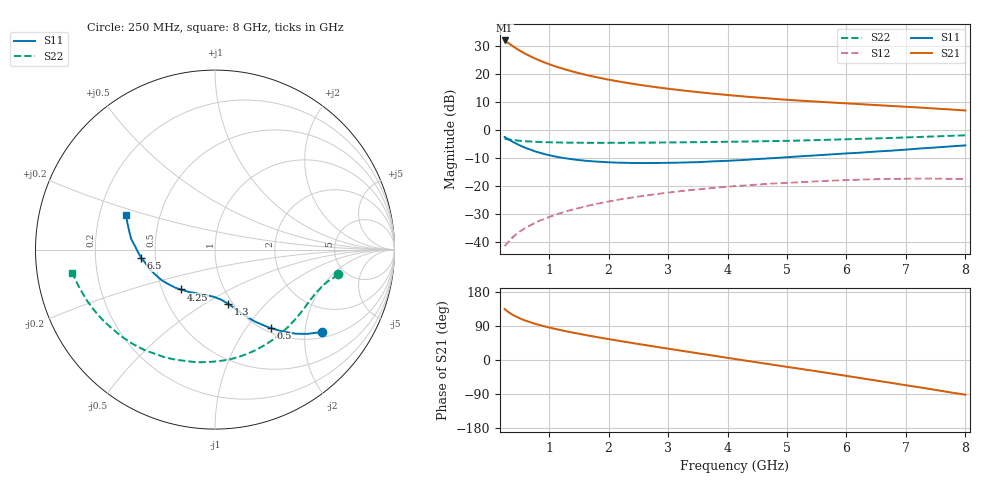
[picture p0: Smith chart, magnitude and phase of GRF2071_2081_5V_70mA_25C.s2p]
! Data measured by Modelithics, Inc.
! support@modelithics.com 813-866-6335 Tampa FL USA
# GHZ S MA R 50
! Scattering Parameters
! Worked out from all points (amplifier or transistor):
!   55 points, 250 MHz to 8 GHz, reference 50 ohm
!   highest |S21| = 31.8 dB at 250 MHz (marker M1)
!   |S21| within 3 dB of that: start of sweep to 457.5 MHz
!   unconditionally stable (mu >= 1): 1.566 GHz to 5.166 GHz
!   at 700 MHz: K = 0.90, MSG = 29.9 dB, |S12| = -33.7 dB
!   at 2.2 GHz: K = 1.01, MAG = 20.2 dB, |S12| = -24.6 dB
!   at 8 GHz: K = 0.92, MSG = 12.2 dB, |S12| = -17.4 dB
!   lowest NFmin = 0.07 dB at 250 MHz
!   S11 on the Smith chart (normalised r, x): 250 MHz: 1.16, -2.46; 500 MHz: 1.07, -1.31; 1.3 GHz: 0.95, -0.64; 4.25 GHz: 0.62, -0.30; 6.5 GHz: 0.42, -0.05; 8 GHz: 0.31, +0.17
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0.25  0.7522 -37.6  39.11 134.4  0.0086 73.0  0.6971 -11.2
0.3  0.6988 -42.2  35.87 128.2  0.00983 74.0  0.6841 -12.8
0.35  0.6503 -46.1  32.99 122.8  0.0114 72.1  0.6712 -14.2
0.4  0.6058 -49.3  30.33 118.0  0.01279 72.0  0.6592 -15.2
0.45  0.5703 -52.0  27.99 114.2  0.01415 70.5  0.653 -15.7
0.5  0.5364 -54.6  26.02 110.4  0.01554 70.6  0.6438 -17.1
0.55  0.5075 -56.9  24.22 107.1  0.01672 69.7  0.6364 -18.1
0.65  0.4606 -60.8  21.27 101.3  0.01938 68.6  0.6263 -19.8
0.8  0.4054 -65.2  17.93 93.9  0.02335 66.5  0.6144 -22.4
0.9  0.3789 -67.8  16.22 89.6  0.02571 65.4  0.609 -24.1
1  0.3564 -70.2  14.79 85.8  0.02841 64.2  0.6053 -25.8
1.3  0.3112 -76.3  11.68 75.3  0.03614 59.9  0.5961 -31.1
1.6  0.285 -82.0  9.662 66.3  0.04355 55.7  0.593 -36.6
1.9  0.2709 -87.6  8.24 57.9  0.05104 50.9  0.5923 -42.1
2.2  0.262 -92.9  7.195 49.9  0.05858 46.2  0.5923 -47.8
2.9  0.2602 -105.5  5.589 32.3  0.07471 34.3  0.5999 -61.4
3.5  0.2681 -116.4  4.721 17.7  0.08786 23.8  0.6082 -73.0
4.25  0.2923 -130.5  3.971 -0.4  0.1027 9.9  0.6222 -88.5
5.5  0.3549 -155.1  3.194 -29.8  0.1225 -13.3  0.662 -114.7
6.5  0.4143 -173.7  2.773 -54.2  0.1334 -33.1  0.709 -136.4
6.75  0.4291 -178.1  2.68 -60.3  0.1352 -38.3  0.722 -142.0
8  0.5324 158.8  2.224 -91.6  0.1344 -64.5  0.805 -170.6
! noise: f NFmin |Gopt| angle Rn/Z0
0.25  0.07325  0.2597  8.505  0.04356
0.55  0.09032  0.2588  28.47  0.03973
0.85  0.1092  0.2578  47.64  0.03667
1.3  0.1409  0.2564  74.9  0.03351
1.9  0.1894  0.2545  108.5  0.03196
2.5  0.2451  0.2525  138.8  0.03346
3.25  0.3248  0.2501  172.3  0.03962
4.75  0.518  0.2454  -135.6  0.06623
6.5  0.8002  0.2398  -99.96  0.1213
8  1.091  0.235  -90.99  0.1892
